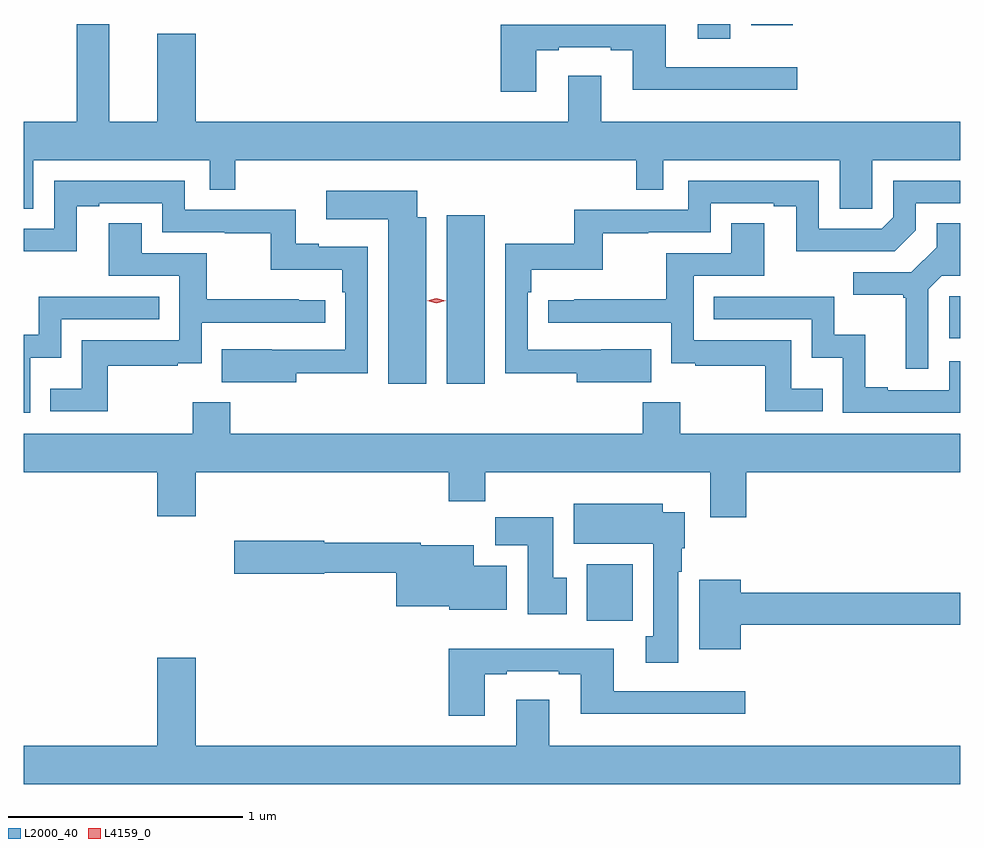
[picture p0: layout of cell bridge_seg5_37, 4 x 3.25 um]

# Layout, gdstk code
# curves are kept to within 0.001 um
import gdstk
lib = gdstk.Library(unit=1e-6, precision=1e-09)
def R(c, l, rs):  # rectangles x0, y0, x1, y1
    for r in rs: c.add(gdstk.rectangle(r[:2], r[2:], *l))
def P(c, l, *ps):  # polygons
    for p in ps: c.add(gdstk.Polygon(p, *l))
L2000_40 = (2000, 40)
L4159_0 = (4159, 0)

bridge_seg5_37 = lib.new_cell('bridge_seg5_37')
R(bridge_seg5_37, L2000_40, [(886.121,904.076,886.318,904.318), (885.524,905.088,885.685,905.809), (887.67,905.283,887.717,905.463), (886.595,906.561,886.735,906.625), (886.823,906.62,887.002,906.625)])
P(bridge_seg5_37, L2000_40, [(883.759,906.044),(884.511,906.044),(884.511,905.917),(884.62,905.917),(884.62,906.044),(886.333,906.044),(886.333,905.917),(886.449,905.917),(886.449,906.044),(887.201,906.044),(887.201,905.836),(887.34,905.836),(887.34,906.044),(887.717,906.044),(887.717,906.208),(886.183,906.208),(886.183,906.403),(886.043,906.403),(886.043,906.208),(884.452,906.208),(884.452,906.583),(884.288,906.583),(884.288,906.208),(884.083,906.208),(884.083,906.625),(883.943,906.625),(883.943,906.208),(883.717,906.208),(883.717,905.836),(883.759,905.836)],
  [(885.907,906.513),(886.003,906.513),(886.003,906.525),(886.223,906.525),(886.223,906.513),(886.319,906.513),(886.319,906.344),(887.02,906.344),(887.02,906.441),(886.459,906.441),(886.459,906.622),(885.755,906.622),(885.755,906.336),(885.907,906.336)],
  [(884.881,905.134),(885.186,905.134),(885.186,905.673),(884.977,905.673),(884.977,905.686),(884.88,905.686),(884.88,905.832),(884.406,905.832),(884.406,905.955),(883.848,905.955),(883.848,905.751),(883.717,905.751),(883.717,905.655),(883.74,905.655),(883.74,905.654),(883.945,905.654),(883.945,905.847),(884.041,905.847),(884.041,905.859),(884.31,905.859),(884.31,905.736),(884.575,905.736),(884.575,905.731),(884.772,905.731),(884.772,905.576),(885.077,905.576),(885.077,905.48),(885.09,905.48),(885.09,905.235),(884.777,905.235),(884.777,905.236),(884.563,905.236),(884.563,905.096),(884.881,905.096)],
  [(886.397,905.236),(885.87,905.235),(885.87,905.48),(885.884,905.48),(885.884,905.576),(886.189,905.576),(886.189,905.731),(886.385,905.731),(886.385,905.736),(886.65,905.736),(886.65,905.859),(886.919,905.859),(886.919,905.847),(887.015,905.847),(887.015,905.654),(887.436,905.655),(887.526,905.745),(887.526,905.859),(887.717,905.859),(887.717,905.955),(887.43,905.955),(887.43,905.799),(887.382,905.751),(887.112,905.751),(887.112,905.955),(886.554,905.955),(886.554,905.832),(886.068,905.832),(886.068,905.686),(885.774,905.686),(885.774,905.134),(886.079,905.134),(886.079,905.096),(886.397,905.096)],
  [(885.436,905.8),(885.397,905.8),(885.397,905.914),(885.009,905.914),(885.009,905.792),(885.275,905.792),(885.275,905.088),(885.436,905.088)],
  [(884.077,905.166),(884.375,905.166),(884.375,905.177),(884.478,905.177),(884.478,905.349),(885.004,905.349),(885.004,905.445),(884.891,905.445),(884.891,905.45),(884.498,905.45),(884.498,905.646),(884.221,905.646),(884.221,905.774),(884.081,905.774),(884.081,905.55),(884.382,905.55),(884.382,905.274),(883.966,905.274),(883.966,905.068),(883.831,905.068),(883.831,904.971),(884.077,904.971)],
  [(887.58,905.493),(887.637,905.55),(887.717,905.55),(887.717,905.774),(887.615,905.774),(887.615,905.672),(887.508,905.565),(887.259,905.565),(887.259,905.468),(887.472,905.468),(887.472,905.457),(887.483,905.457),(887.483,905.154),(887.58,905.154)],
  [(887.129,905.068),(886.995,905.068),(886.995,905.274),(886.578,905.274),(886.578,905.55),(886.879,905.55),(886.879,905.774),(886.739,905.774),(886.739,905.646),(886.462,905.646),(886.462,905.45),(886.069,905.45),(886.069,905.445),(885.957,905.445),(885.957,905.349),(886.482,905.349),(886.482,905.177),(886.585,905.177),(886.585,905.166),(886.884,905.166),(886.884,904.971),(887.129,904.971)],
  [(883.746,905.201),(883.878,905.201),(883.878,905.364),(884.297,905.364),(884.297,905.46),(883.782,905.46),(883.782,905.299),(883.717,905.299),(883.717,904.965),(883.746,904.965)],
  [(887.717,905.184),(887.67,905.184),(887.67,905.061),(887.407,905.061),(887.407,905.074),(887.311,905.074),(887.311,905.299),(887.178,905.299),(887.178,905.46),(886.663,905.46),(886.663,905.364),(887.082,905.364),(887.082,905.201),(887.214,905.201),(887.214,904.965),(887.717,904.965)],
  [(886.802,904.712),(887.717,904.712),(887.717,904.876),(886.521,904.876),(886.521,905.011),(886.361,905.011),(886.361,904.876),(884.6,904.876),(884.6,905.011),(884.44,905.011),(884.44,904.876),(883.717,904.876),(883.717,904.712),(884.288,904.712),(884.288,904.524),(884.452,904.524),(884.452,904.712),(885.533,904.712),(885.533,904.588),(885.689,904.588),(885.689,904.712),(886.649,904.712),(886.649,904.518),(886.802,904.518)],
  [(886.513,904.286),(886.528,904.286),(886.528,904.386),(886.54,904.386),(886.54,904.54),(886.447,904.54),(886.447,904.576),(886.067,904.576),(886.067,904.406),(886.406,904.406),(886.406,904.01),(886.373,904.01),(886.373,903.897),(886.513,903.897)],
  [(886.036,904.26),(885.979,904.26),(885.979,904.518),(885.73,904.518),(885.73,904.4),(885.869,904.4),(885.869,904.104),(886.036,904.104)],
  [(885.781,904.312),(885.64,904.312),(885.64,904.399),(885.412,904.399),(885.412,904.411),(885,904.411),(885,904.419),(884.616,904.419),(884.616,904.277),(885,904.277),(885,904.282),(885.308,904.282),(885.308,904.139),(885.534,904.139),(885.534,904.124),(885.781,904.124)],
  [(886.78,904.06),(887.717,904.06),(887.717,904.196),(886.78,904.196),(886.78,904.252),(886.601,904.252),(886.601,903.956),(886.78,903.956)],
  [(885.685,903.849),(885.781,903.849),(885.781,903.861),(886.001,903.861),(886.001,903.849),(886.097,903.849),(886.097,903.68),(886.798,903.68),(886.798,903.777),(886.237,903.777),(886.237,903.958),(885.533,903.958),(885.533,903.672),(885.685,903.672)],
  [(887.717,903.544),(885.961,903.544),(885.961,903.739),(885.821,903.739),(885.821,903.544),(884.452,903.544),(884.452,903.919),(884.288,903.919),(884.288,903.544),(883.717,903.544),(883.717,903.38),(887.717,903.38)])
P(bridge_seg5_37, L4159_0, [(885.48,905.433),(885.44,905.443),(885.44,905.443),(885.44,905.444),(885.48,905.453),(885.52,905.444),(885.52,905.443),(885.52,905.443)])

lib.write_gds('bridge_seg5_37.gds')
